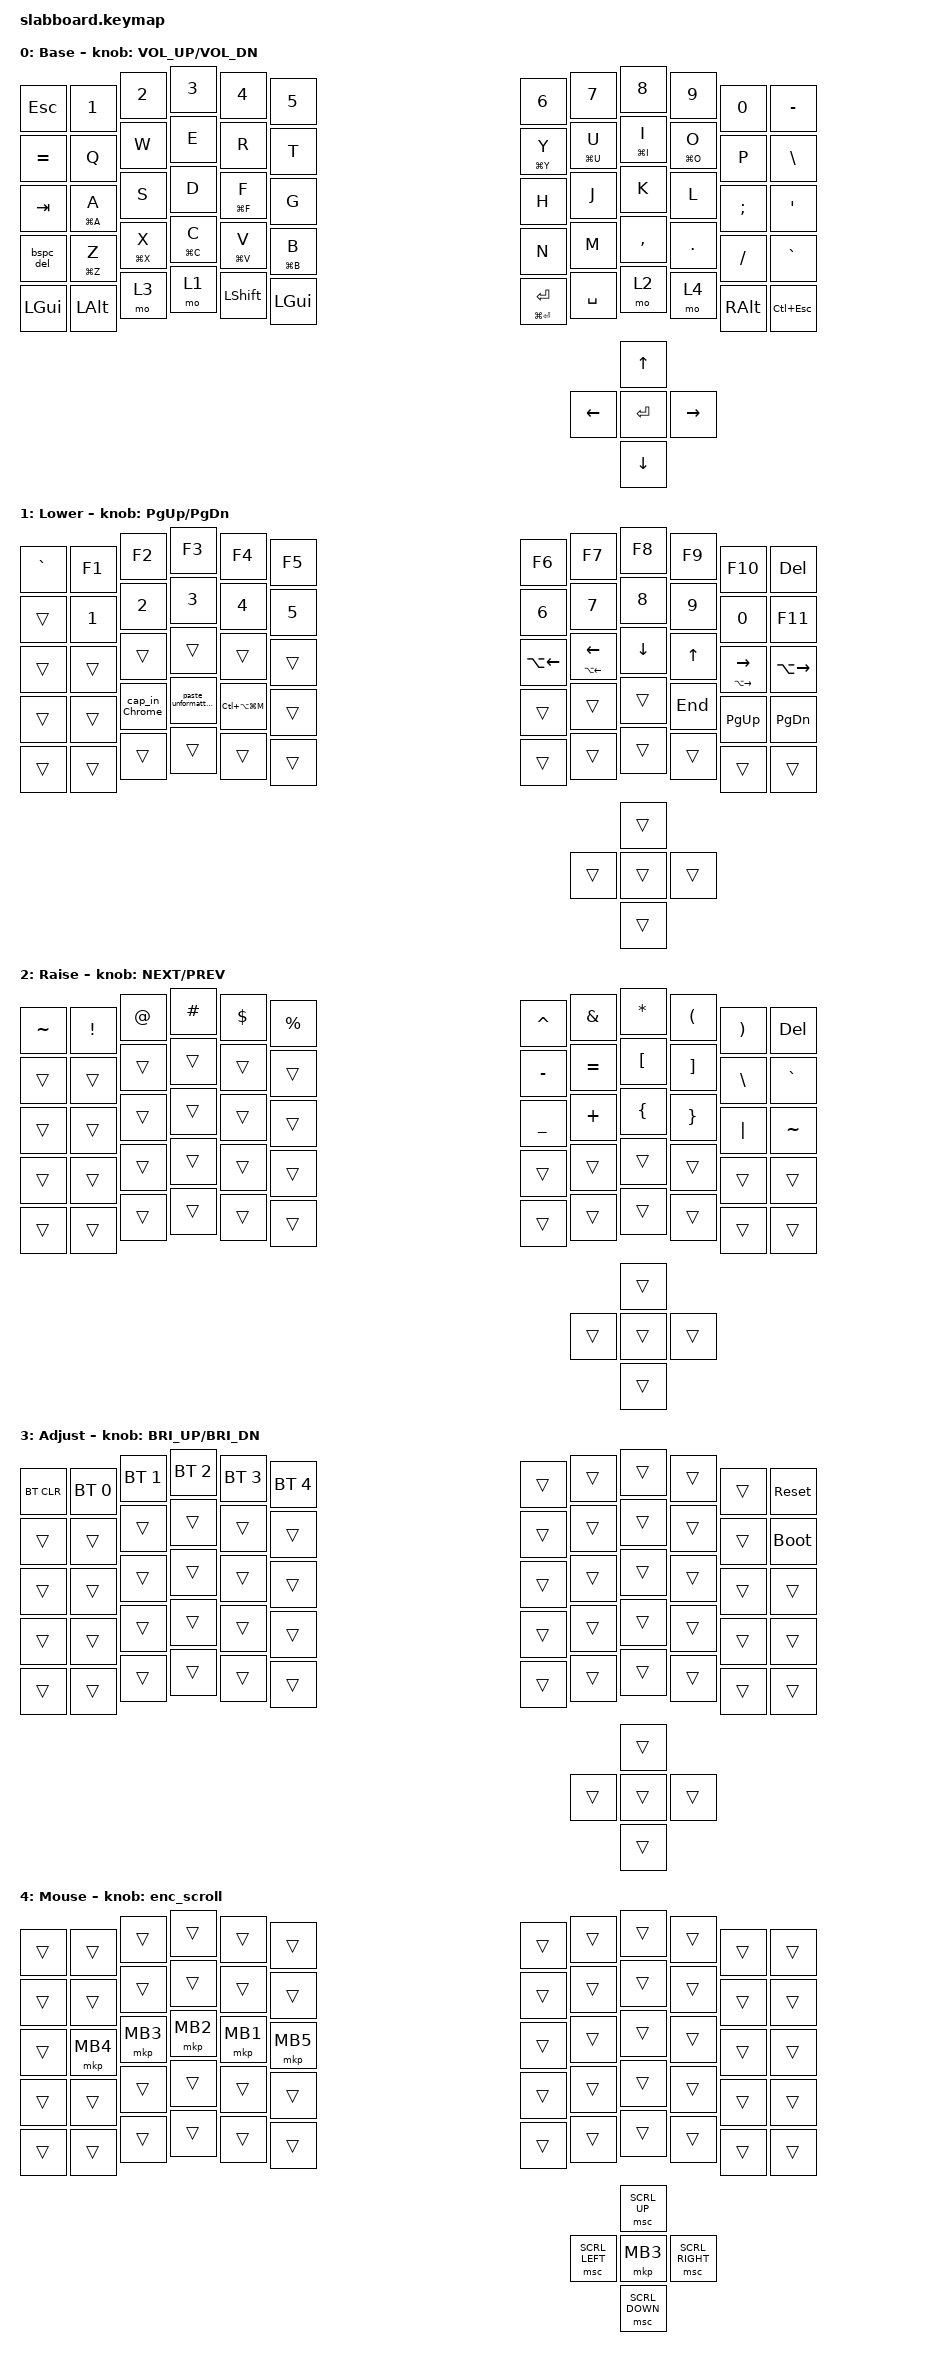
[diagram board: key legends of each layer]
/*
 * SlabBoard — keymap
 *
 * 5 rows x 12 columns, 60 keys. Left half is columns 0-5 (outer pinky to
 * inner index), right half columns 6-11 (inner index to outer pinky), so
 * each row below reads straight across the keyboard left to right.
 *
 * Positions 60-64, the last line of every layer, are the 5-way navigation
 * switch on the right half: up, down, left, right, centre. Arrows and Enter
 * on Base, scroll and middle click on Mouse, transparent elsewhere.
 *
 * SPDX-License-Identifier: MIT
 */

#include <behaviors.dtsi>
#include <dt-bindings/zmk/keys.h>
#include <dt-bindings/zmk/bt.h>
#include <dt-bindings/zmk/pointing.h>   /* &mkp, &msc, MB1..MB5 */

/* Custom Device-tree */
&mt {
    tapping-term-ms = <275>;
    flavor = "tap-preferred";
    quick-tap-ms = <200>;
    require-prior-idle-ms = <150>;
};
&lt {
    tapping-term-ms = <275>;
    flavor = "tap-preferred";  
};

/* custom macro definitions */
/ {
    macros {

        // selects all and then does caps - for wisetime
        cap_in_Chrome: cap_in_Chrome {
            label = "&CAP_IN_CHROME";
            compatible = "zmk,behavior-macro";
            #binding-cells = <0>;
            bindings = <&macro_tap>
                , <&kp LG(A)>
                , <&macro_wait_time 100>
                , <&macro_tap>
                , <&kp LG(LA(N1))>;
        };

        maching_parentheses: maching_parentheses {
            label = "&MACHING_PARENTHESES";
            compatible = "zmk,behavior-macro";
            #binding-cells = <0>;
            bindings = <&macro_tap>
                , <&kp LS(N9)>
                , <&macro_tap>
                , <&kp LS(N0)>
                , <&macro_tap>
                , <&kp SPACE>
                , <&macro_tap>
                , <&kp LEFT>
                , <&kp LEFT>;
        };

        maching_brakets: maching_brakets {
            label = "&MACHING_BRAKETS";
            compatible = "zmk,behavior-macro";
            #binding-cells = <0>;
            bindings = <&macro_tap>
                , <&kp LBKT>
                , <&macro_tap>
                , <&kp RBKT>
                , <&macro_tap>
                , <&kp LEFT>
                , <&macro_wait_time 15>
                , <&macro_tap>
                , <&caps_word>;
        };

        maching_quotes: maching_quotes {
            label = "&MACHING_QUOTES";
            compatible = "zmk,behavior-macro";
            #binding-cells = <0>;
            bindings = <&macro_tap>
                , <&kp SQT>
                , <&macro_tap>
                , <&kp SQT>
                , <&macro_tap>
                , <&kp LEFT>;
        };

        Paste_Unformatted_Word: Paste_Unformatted_Word {
            label = "&PASTE_UNFORMATTED_WORD";
            compatible = "zmk,behavior-macro";
            #binding-cells = <0>;
            bindings = <&kp LG(LC(V))>
                , <&macro_wait_time 200>
                , <&kp U>
                , <&macro_tap_time 100>
                , <&kp RET>;
        };
    };
};

/* custom behaiors definitions */
/ {
    behaviors {

        // a mt for a parenthesis macro
        matchingholdP: matchingholdP {
            compatible = "zmk,behavior-hold-tap";
            #binding-cells = <2>;
            tapping-term-ms = <200>;
            bindings = <&maching_parentheses>, <&kp>;
            flavor = "tap-preferred";
            quick-tap-ms = <200>;
            hold-trigger-on-release;
        };

        macro_hold_tap: macro_hold_tap {
            compatible = "zmk,behavior-hold-tap";
            #binding-cells = <2>;
            tapping-term-ms = <200>;
            bindings = <&maching_brakets>, <&maching_parentheses>;
            flavor = "tap-preferred";
            quick-tap-ms = <200>;
        };

        bspc_del: bspc_del {
            compatible = "zmk,behavior-mod-morph";
            #binding-cells = <0>;
            bindings = <&kp BSPC>, <&kp DEL>;
            mods = <(MOD_LSFT|MOD_RSFT)>;
        };

        paste_unformatted_word: paste_unformatted_word {
            compatible = "zmk,behavior-mod-morph";
            #binding-cells = <0>;
            bindings = <&Paste_Unformatted_Word>, <&kp LG(LA(LS(V)))>;
            mods = <(MOD_LSFT|MOD_RSFT)>;
        };

        /*
         * Encoder = scroll wheel on the mouse layer. ZMK ships only
         * inc_dec_kp as a sensor behaviour, so wrap &msc in a generic
         * zmk,behavior-sensor-rotate to get scroll out of the encoder.
         */
        enc_scroll: enc_scroll {
            compatible = "zmk,behavior-sensor-rotate";
            #sensor-binding-cells = <0>;
            bindings = <&msc SCRL_UP>, <&msc SCRL_DOWN>;
        };
    };
};

/ {
    keymap {
        compatible = "zmk,keymap";

            default_layer {
                display-name = "Base";
                bindings = <
                    &kp ESC       &kp N1        &kp N2        &kp N3        &kp N4        &kp N5        &kp N6        &kp N7        &kp N8        &kp N9        &kp N0        &kp MINUS
                    &kp EQUAL     &kp Q         &kp W         &kp E         &kp R         &kp T         &mt LG(Y) Y  &mt LG(U) U  &mt LG(I) I    &mt LG(O) O &kp P     &kp BSLH
                    &kp TAB       &mt LG(A) A  &kp S     &kp D     &mt LG(F) F      &kp G         &kp H         &kp J         &kp K         &kp L         &kp SEMI      &kp SQT
                    &bspc_del  &mt LG(Z) Z  &mt LG(X) X   &mt LG(C) C &mt LG(V) V  &mt LG(B) B         &kp N         &kp M         &kp COMMA     &kp DOT       &kp FSLH      &kp GRAVE
                    &kp LGUI      &kp LALT      &mo 3         &mo 1         &kp LSHIFT    &kp LGUI      &mt LG(RET) RET         &kp SPACE       &mo 2         &mo 4         &kp RALT      &kp LC(ESC)
                    /* 5-way switch: up down left right centre */
                    &kp UP        &kp DOWN      &kp LEFT      &kp RIGHT     &kp RET
                >;
                    sensor-bindings = <&inc_dec_kp C_VOL_UP C_VOL_DN>;
            };
            lower_layer {
                display-name = "Lower";
                bindings = <
                    &kp GRAVE     &kp F1        &kp F2        &kp F3        &kp F4        &kp F5        &kp F6        &kp F7        &kp F8        &kp F9        &kp F10       &kp DEL
                    &trans        &kp N1        &kp N2        &kp N3        &kp N4        &kp N5        &kp N6        &kp N7        &kp N8        &kp N9        &kp N0        &kp F11
                    &trans        &trans        &trans        &trans        &trans        &trans        &kp LA(LEFT)    &mt LA(LEFT) LEFT      &kp DOWN       &kp UP       &mt LA(RIGHT) RIGHT           &kp LA(RIGHT)
                    &trans        &trans        &cap_in_Chrome         &paste_unformatted_word  &kp LC(LA(LG(M)))        &trans        &trans        &trans        &trans        &kp END       &kp PG_UP     &kp PG_DN
                    &trans        &trans        &trans        &trans        &trans        &trans        &trans        &trans        &trans        &trans        &trans        &trans
                    /* 5-way switch: up down left right centre */
                    &trans        &trans        &trans        &trans        &trans
                >;
                    sensor-bindings = <&inc_dec_kp PG_UP PG_DN>;
            };
            raise_layer {
                display-name = "Raise";
                bindings = <
                    &kp TILDE     &kp EXCL      &kp AT        &kp HASH      &kp DLLR      &kp PRCNT     &kp CARET     &kp AMPS      &kp ASTRK     &kp LPAR      &kp RPAR      &kp DEL
                    &trans        &trans        &trans        &trans        &trans        &trans        &kp MINUS     &kp EQUAL     &kp LBKT      &kp RBKT      &kp BSLH      &kp GRAVE
                    &trans        &trans        &trans        &trans        &trans        &trans        &kp UNDER     &kp PLUS      &kp LBRC      &kp RBRC      &kp PIPE      &kp TILDE
                    &trans        &trans        &trans        &trans        &trans        &trans        &trans        &trans        &trans        &trans        &trans        &trans
                    &trans        &trans        &trans        &trans        &trans        &trans        &trans        &trans        &trans        &trans        &trans        &trans
                    /* 5-way switch: up down left right centre */
                    &trans        &trans        &trans        &trans        &trans
                >;
                    sensor-bindings = <&inc_dec_kp C_NEXT C_PREV>;
            };
            adjust_layer {
                display-name = "Adjust";
                bindings = <
                    &bt BT_CLR    &bt BT_SEL 0  &bt BT_SEL 1  &bt BT_SEL 2  &bt BT_SEL 3  &bt BT_SEL 4  &trans        &trans        &trans        &trans        &trans        &sys_reset
                    &trans        &trans        &trans        &trans        &trans        &trans        &trans        &trans        &trans        &trans        &trans        &bootloader
                    &trans        &trans        &trans        &trans        &trans        &trans        &trans        &trans        &trans        &trans        &trans        &trans
                    &trans        &trans        &trans        &trans        &trans        &trans        &trans        &trans        &trans        &trans        &trans        &trans
                    &trans        &trans        &trans        &trans        &trans        &trans        &trans        &trans        &trans        &trans        &trans        &trans
                    /* 5-way switch: up down left right centre */
                    &trans        &trans        &trans        &trans        &trans
                >;
                    sensor-bindings = <&inc_dec_kp C_BRI_UP C_BRI_DN>;
            };
            /*
             * Mouse layer. Left-hand home row becomes mouse buttons so the
             * TPS65 only has to do pointer movement -- its own click-and-drag
             * gesture is unreliable.
             *
             * Reached two ways: held with &mo 4 on the right thumb, or
             * automatically whenever the trackpad is touched (zip_auto_mouse,
             * see slabboard_left.overlay). Everything except the five button
             * keys is &trans, so the rest of the board types normally while
             * the layer is up.
             *
             *   pos 25  A -> MB4 back      pos 28  F -> MB1 LEFT click
             *   pos 26  S -> MB3 middle    pos 29  G -> MB5 forward
             *   pos 27  D -> MB2 right
             *
             * The 5-way switch (60-64) scrolls here and clicks middle in the
             * centre, so the right thumb can scroll while the left drives the pad.
             */
            mouse_layer {
                display-name = "Mouse";
                bindings = <
                    &trans        &trans        &trans        &trans        &trans        &trans        &trans        &trans        &trans        &trans        &trans        &trans
                    &trans        &trans        &trans        &trans        &trans        &trans        &trans        &trans        &trans        &trans        &trans        &trans
                    &trans        &mkp MB4      &mkp MB3     &mkp MB2     &mkp MB1     &mkp MB5      &trans        &trans        &trans        &trans        &trans        &trans
                    &trans        &trans        &trans        &trans        &trans        &trans        &trans        &trans        &trans        &trans        &trans        &trans
                    &trans        &trans        &trans        &trans        &trans        &trans        &trans        &trans        &trans        &trans        &trans        &trans
                    /* 5-way switch: up down left right centre */
                    &msc SCRL_UP  &msc SCRL_DOWN &msc SCRL_LEFT &msc SCRL_RIGHT &mkp MB3
                >;
                    sensor-bindings = <&enc_scroll>;
            };
    };
};
